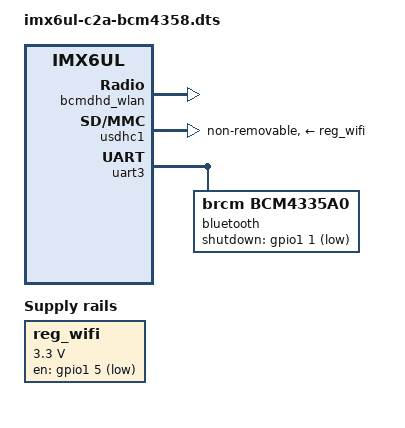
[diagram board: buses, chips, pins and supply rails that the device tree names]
#include "imx6ul-c2a.dtsi"

&{/} {
	reg_wifi: regulator-wifi {
		compatible = "regulator-fixed";
		regulator-name = "wlreg_on";
		gpio = <&gpio1 5 GPIO_ACTIVE_LOW>;
		enable-active-low;
		regulator-min-microvolt = <3300000>;
		regulator-max-microvolt = <3300000>;
		/* regulator-always-on; */
	};

	bcmdhd_wlan {
		compatible = "android,bcmdhd_wlan";
		wlreg_on-supply = <&reg_wifi>; 
		/* gpio_wl_reg_on = <&gpio1 5 GPIO_ACTIVE_LOW>; */
	};
};

&usdhc1 { /* Wi-Fi */
	pinctrl-names = "default", "state_100mhz", "state_200mhz";
	pinctrl-0 = <&pinctrl_usdhc1>;
	pinctrl-1 = <&pinctrl_usdhc1_100mhz>;
	pinctrl-2 = <&pinctrl_usdhc1_200mhz>;
	non-removable;
	no-1-8-v;
	keep-power-in-suspend;
	wakeup-source;
	enable-sdio-wakeup; /* realtek */
	vmmc-supply = <&reg_wifi>;
	status = "okay";
};

&uart3 { /* bluetooth */
	pinctrl-names = "default";
	pinctrl-0 = <&pinctrl_uart3>;
	uart-has-rtscts;
	status = "okay";

	bluetooth {
		compatible = "brcm,bcm4335a0"; /* general device match (no flags) */
    	max-speed = <3000000>;
		shutdown-gpios = <&gpio1 1 GPIO_ACTIVE_LOW>; /* as seen in init_gpio.sh */
	};
};
